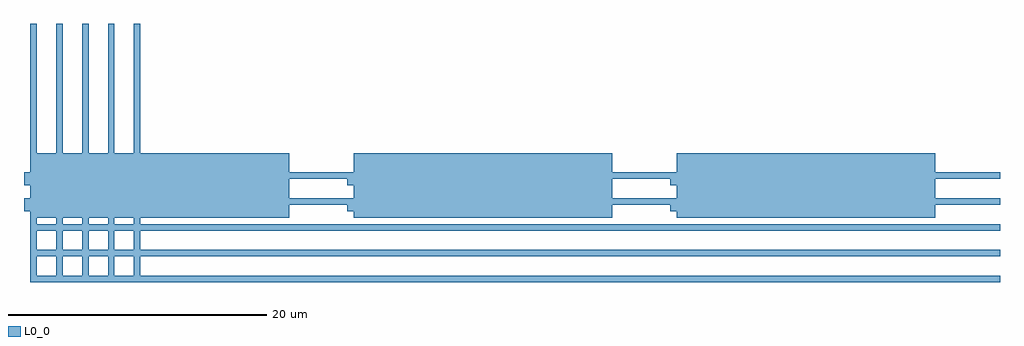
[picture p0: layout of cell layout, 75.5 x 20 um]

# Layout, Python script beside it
import gdspy

# Define the library and cell
lib = gdspy.GdsLibrary()
cell = lib.new_cell("layout")

# Step 1: Draw three rectangular active regions
active_width = 20  # width in micrometers
active_height = 5  # height in micrometers
spacing = 5  # spacing between regions in micrometers

# Define the active region shapes
for i in range(3):
    x_offset = i * (active_width + spacing)
    active_region = gdspy.Rectangle((x_offset, 0), (x_offset + active_width, active_height))
    cell.add(active_region)

# Step 2: Create complex polysilicon gate pattern (grid-like structure)
poly_width = 0.5  # width of polysilicon lines in micrometers
grid_spacing = 2  # spacing between grid lines in micrometers

# Define vertical lines of the grid
for i in range(5):
    x_pos = i * grid_spacing
    poly_line = gdspy.Rectangle((x_pos, -active_height), (x_pos + poly_width, 2 * active_height + active_height))
    cell.add(poly_line)

# Define horizontal lines of the grid
for i in range(5):
    y_pos = -active_height + i * grid_spacing
    poly_line = gdspy.Rectangle((0, y_pos), (3 * (active_width + spacing), y_pos + poly_width))
    cell.add(poly_line)

# Step 3: Add contact holes at intersections
contact_size = 1  # size of contact hole in micrometers

# Define the contact holes at the intersections
for i in range(5):
    x_pos = i * grid_spacing
    for j in range(5):
        y_pos = -active_height + j * grid_spacing
        if 0 <= y_pos <= active_height:
            for k in range(3):
                x_offset = k * (active_width + spacing)
                contact_hole = gdspy.Rectangle((x_pos + x_offset - contact_size / 2, y_pos - contact_size / 2), (x_pos + x_offset + contact_size / 2, y_pos + contact_size / 2))
                cell.add(contact_hole)

# Save the design to a GDS file
lib.write_gds('layout_design.gds')

# To inspect the created layout visually in Python (optional)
